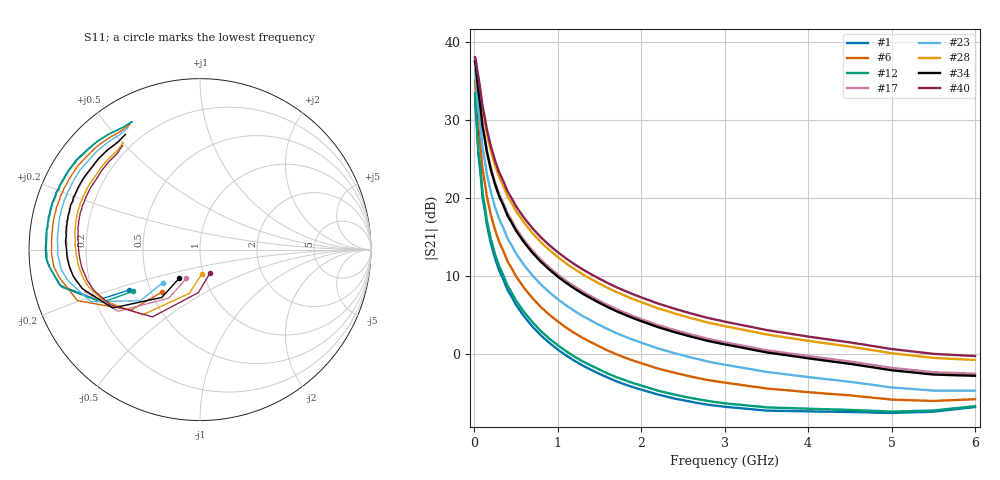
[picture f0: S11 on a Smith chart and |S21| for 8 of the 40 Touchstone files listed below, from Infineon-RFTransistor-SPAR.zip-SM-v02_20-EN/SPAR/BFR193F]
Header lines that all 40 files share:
! Infineon Technologies  Discrete & RF Semiconductors
! BFR193F
! Common Emitter S-Parameters:  Jan 2017
# GHz  S  MA  R  50
!  f  S11  S21  S12  S22
! GHz  MAG  ANG  MAG  ANG  MAG  ANG  MAG  ANG
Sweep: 10 MHz to 6 GHz
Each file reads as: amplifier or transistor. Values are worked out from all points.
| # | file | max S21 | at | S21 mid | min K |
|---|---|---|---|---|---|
| 1 | BFR193F_VCE_1.0V_IC_0.10A.s2p | 33.1 dB | 10 MHz | -5.2 dB at 2.2 GHz | 0.67 |
| 2 | BFR193F_VCE_1.0V_IC_0.11A.s2p | 32.4 dB | 10 MHz | -6.2 dB at 2.2 GHz | 0.69 |
| 3 | BFR193F_VCE_1.0V_IC_0.12A.s2p | 31.7 dB | 10 MHz | -7.0 dB at 2.2 GHz | 0.72 |
| 4 | BFR193F_VCE_1.0V_IC_65mA.s2p | 35.6 dB | 10 MHz | -0.8 dB at 2.2 GHz | 0.46 |
| 5 | BFR193F_VCE_1.0V_IC_70mA.s2p | 35.2 dB | 10 MHz | -1.6 dB at 2.2 GHz | 0.51 |
| 6 | BFR193F_VCE_1.0V_IC_72mA.s2p | 35.1 dB | 10 MHz | -1.9 dB at 2.2 GHz | 0.51 |
| 7 | BFR193F_VCE_1.0V_IC_75mA.s2p | 34.9 dB | 10 MHz | -2.3 dB at 2.2 GHz | 0.53 |
| 8 | BFR193F_VCE_1.0V_IC_80mA.s2p | 34.5 dB | 10 MHz | -3.0 dB at 2.2 GHz | 0.56 |
| 9 | BFR193F_VCE_1.0V_IC_85mA.s2p | 34.2 dB | 10 MHz | -3.6 dB at 2.2 GHz | 0.57 |
| 10 | BFR193F_VCE_1.0V_IC_90mA.s2p | 33.8 dB | 10 MHz | -4.2 dB at 2.2 GHz | 0.62 |
| 11 | BFR193F_VCE_1.0V_IC_92mA.s2p | 33.6 dB | 10 MHz | -4.4 dB at 2.2 GHz | 0.61 |
| 12 | BFR193F_VCE_1.0V_IC_95mA.s2p | 33.4 dB | 10 MHz | -4.7 dB at 2.2 GHz | 0.63 |
| 13 | BFR193F_VCE_2.0V_IC_0.10A.s2p | 35.8 dB | 10 MHz | -0.3 dB at 2.2 GHz | 0.59 |
| 14 | BFR193F_VCE_2.0V_IC_0.11A.s2p | 35.2 dB | 10 MHz | -1.4 dB at 2.2 GHz | 0.63 |
| 15 | BFR193F_VCE_2.0V_IC_0.12A.s2p | 34.5 dB | 10 MHz | -2.5 dB at 2.2 GHz | 0.67 |
| 16 | BFR193F_VCE_2.0V_IC_65mA.s2p | 37.5 dB | 10 MHz | 4.3 dB at 2.2 GHz | 0.35 |
| 17 | BFR193F_VCE_2.0V_IC_70mA.s2p | 37.4 dB | 10 MHz | 3.7 dB at 2.2 GHz | 0.37 |
| 18 | BFR193F_VCE_2.0V_IC_72mA.s2p | 37.4 dB | 10 MHz | 3.4 dB at 2.2 GHz | 0.39 |
| 19 | BFR193F_VCE_2.0V_IC_75mA.s2p | 37.3 dB | 10 MHz | 3.0 dB at 2.2 GHz | 0.43 |
| 20 | BFR193F_VCE_2.0V_IC_80mA.s2p | 37.0 dB | 10 MHz | 2.3 dB at 2.2 GHz | 0.46 |
| 21 | BFR193F_VCE_2.0V_IC_85mA.s2p | 36.8 dB | 10 MHz | 1.6 dB at 2.2 GHz | 0.49 |
| 22 | BFR193F_VCE_2.0V_IC_90mA.s2p | 36.5 dB | 10 MHz | 0.9 dB at 2.2 GHz | 0.51 |
| 23 | BFR193F_VCE_2.0V_IC_92mA.s2p | 36.3 dB | 10 MHz | 0.7 dB at 2.2 GHz | 0.55 |
| 24 | BFR193F_VCE_2.0V_IC_95mA.s2p | 36.1 dB | 10 MHz | 0.3 dB at 2.2 GHz | 0.56 |
| 25 | BFR193F_VCE_3.0V_IC_0.10A.s2p | 37.0 dB | 10 MHz | 2.2 dB at 2.2 GHz | 0.49 |
| 26 | BFR193F_VCE_3.0V_IC_0.11A.s2p | 36.3 dB | 10 MHz | 0.9 dB at 2.2 GHz | 0.59 |
| 27 | BFR193F_VCE_3.0V_IC_0.12A.s2p | 35.7 dB | 10 MHz | -0.2 dB at 2.2 GHz | 0.61 |
| 28 | BFR193F_VCE_3.0V_IC_65mA.s2p | 37.9 dB | 10 MHz | 5.8 dB at 2.2 GHz | 0.26 |
| 29 | BFR193F_VCE_3.0V_IC_70mA.s2p | 38.0 dB | 10 MHz | 5.5 dB at 2.2 GHz | 0.29 |
| 30 | BFR193F_VCE_3.0V_IC_72mA.s2p | 38.0 dB | 10 MHz | 5.4 dB at 2.2 GHz | 0.32 |
| 31 | BFR193F_VCE_3.0V_IC_75mA.s2p | 38.0 dB | 10 MHz | 5.1 dB at 2.2 GHz | 0.35 |
| 32 | BFR193F_VCE_3.0V_IC_80mA.s2p | 37.9 dB | 10 MHz | 4.6 dB at 2.2 GHz | 0.38 |
| 33 | BFR193F_VCE_3.0V_IC_85mA.s2p | 37.7 dB | 10 MHz | 4.0 dB at 2.2 GHz | 0.40 |
| 34 | BFR193F_VCE_3.0V_IC_90mA.s2p | 37.5 dB | 10 MHz | 3.4 dB at 2.2 GHz | 0.45 |
| 35 | BFR193F_VCE_3.0V_IC_92mA.s2p | 37.4 dB | 10 MHz | 3.2 dB at 2.2 GHz | 0.47 |
| 36 | BFR193F_VCE_3.0V_IC_95mA.s2p | 37.3 dB | 10 MHz | 2.8 dB at 2.2 GHz | 0.48 |
| 37 | BFR193F_VCE_4.0V_IC_0.10A.s2p | 37.5 dB | 10 MHz | 3.6 dB at 2.2 GHz | 0.45 |
| 38 | BFR193F_VCE_4.0V_IC_0.11A.s2p | 36.9 dB | 10 MHz | 2.4 dB at 2.2 GHz | 0.52 |
| 39 | BFR193F_VCE_4.0V_IC_0.12A.s2p | 36.3 dB | 10 MHz | 1.2 dB at 2.2 GHz | 0.55 |
| 40 | BFR193F_VCE_4.0V_IC_65mA.s2p | 38.0 dB | 10 MHz | 6.4 dB at 2.2 GHz | 0.24 |

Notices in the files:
Hoja de datos/BFP 450/Infineon-RFTransistor-SPAR.zip-SM-v02_20-EN/SPAR/BFR193F/BFR193F_VCE_1.0V_IC_0.10A.s2p:
(c) 2017  Infineon Technologies AG, Munich
